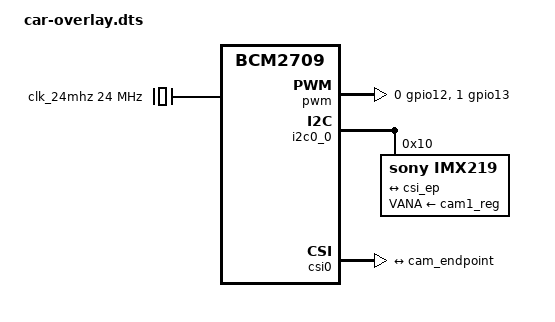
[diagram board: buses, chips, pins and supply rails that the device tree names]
/dts-v1/;
/plugin/;

/ {
	compatible = "brcm,bcm2835", "brcm,bcm2836", "brcm,bcm2708", "brcm,bcm2709";

	fragment@0 {
		target = <&pwm>;
		__overlay__ {
			pinctrl-names = "default";
			/* PWM for steering and motor */
			pinctrl-0 = <&pwm0_0_gpio12 &pwm0_1_gpio13>;
		};
	};

	fragment@1 {
		target = <&i2c0_0>;
		__overlay__ {
			status = "okay";

			imx219@10 {
				compatible = "sony,imx219";
				reg = <0x10>;
				status = "okay";

				clocks = <&clk_24mhz>;
				clock-names = "xclk";

				VANA-supply = <&cam1_reg>;	/* 2.8v */

				port {
					cam_endpoint: endpoint {
							      clock-lanes = <0>;
							      data-lanes = <1 2>;
							      clock-noncontinuous;
							      link-frequencies =
								      /bits/ 64 <456000000>;
								/*remote-endpoint = <&csi_ep>;*/
						      };
				};

			};

		};
	};

	fragment@2 {
		target-path = "/";
		__overlay__ {
			clk_24mhz: clk_24mhz {
					compatible = "fixed-clock";
					#clock-cells = <0>;

					clock-frequency = <24000000>;
					status = "okay";
			};
		};
	};

	fragment@3 {
		target = <&csi0>;
		__overlay__ {
			status = "okay";

			port {
				csi_ep: endpoint {
					remote-endpoint = <&cam_endpoint>;
					clock-lanes = <0>;
					data-lanes = <1 2>;
					clock-noncontinuous;
				};
			};
		};
	};
};

&cam_endpoint {
	remote-endpoint = <&csi_ep>;
};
